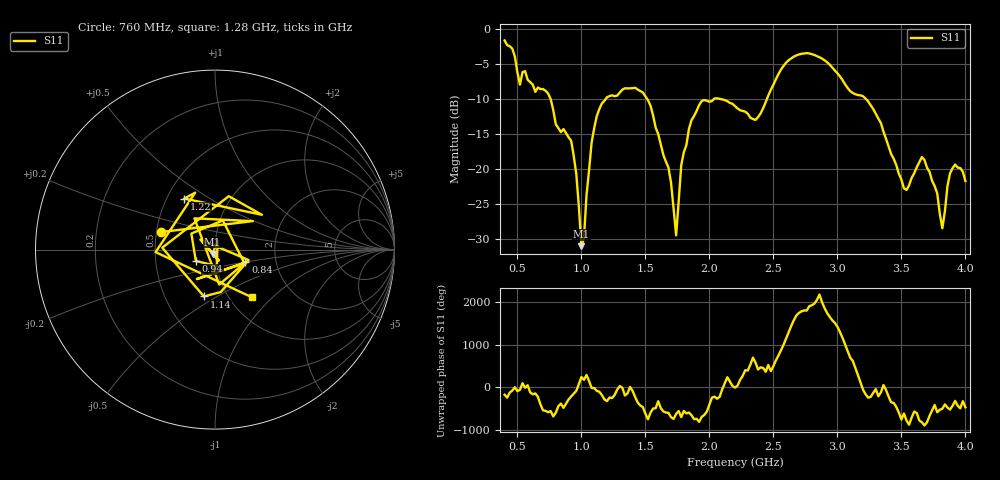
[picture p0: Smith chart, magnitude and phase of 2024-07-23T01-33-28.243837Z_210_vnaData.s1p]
!Created with skrf (http://scikit-rf.org).
# Hz S RI R 50.0
!freq ReS11 ImS11
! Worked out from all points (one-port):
!   181 points, 400 MHz to 4 GHz, reference 50 ohm
!   lowest |S11| = -31.0 dB at 1 GHz (marker M1), VSWR 1.06, Z = 48.6 - j2.42 ohm
!   |S11| at or under -10 dB: 759.4 MHz to 1.19 GHz (430.6 MHz wide, 44.2 % of centre); 1.514 GHz to 2.036 GHz (521.8 MHz wide, 29.4 % of centre); 3.223 GHz to end of sweep (the widest 3 of 4)
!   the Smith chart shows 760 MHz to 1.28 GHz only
!   S11 on the Smith chart (normalised r, x): 760 MHz: 0.53, +0.12; 840 MHz: 1.39, -0.20; 940 MHz: 0.80, -0.10; 1.14 GHz: 0.78, -0.44; 1.22 GHz: 0.61, +0.39; 1.28 GHz: 1.26, -0.75
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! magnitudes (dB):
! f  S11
! 400 MHz  -1.6
! 520 MHz  -7.9
! 760 MHz  -10.0
! 840 MHz  -14.7
! 860 MHz  -14.3
! 940 MHz  -18.1
! 1 GHz  -31.0
! 1.08 GHz  -16.2
! 1.14 GHz  -11.4
! 1.22 GHz  -9.6
! 1.28 GHz  -9.5
! 1.3 GHz  -9.1
! 1.52 GHz  -10.2
! 1.68 GHz  -19.8
! 1.74 GHz  -29.5
! 1.76 GHz  -24.6
! 1.8 GHz  -17.6
! 1.92 GHz  -10.9
! 2.2 GHz  -11.0
! 2.36 GHz  -13.0
! 2.66 GHz  -3.9
! 3.1 GHz  -8.9
! 3.28 GHz  -11.4
! 3.56 GHz  -22.3
! 3.68 GHz  -18.7
! 3.82 GHz  -28.5
! 3.9 GHz  -19.9
! 4 GHz  -21.7
